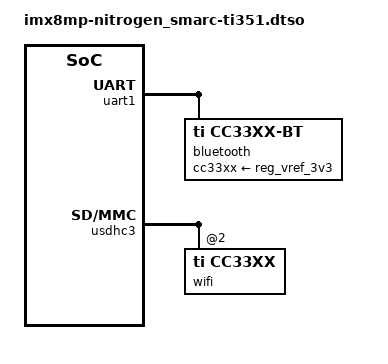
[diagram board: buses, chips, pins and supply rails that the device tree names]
// SPDX-License-Identifier: (GPL-2.0+ OR MIT)
/*
 * Copyright 2026 Ezurio LLC
 */

/dts-v1/;
/plugin/;

#include <dt-bindings/gpio/gpio.h>
#include "imx8mp-pinfunc.h"

&uart1 {
	bluetooth {
		compatible = "ti,cc33xx-bt";
		cc33xx-supply = <&reg_vref_3v3>;
		max-speed = <115200>;
	};
};

&usdhc3 { /* WiFi / Bluetooth */
	max-frequency = <50000000>;
	cap-power-off-card;

	wifi@2 {
		reg = <2>;
		compatible = "ti,cc33xx";
	};
};

&iomuxc {
	pinctrl_usdhc3: usdhc3grp {
		fsl,pins = <
			MX8MP_IOMUXC_NAND_WE_B__USDHC3_CLK	0x10
			MX8MP_IOMUXC_NAND_WP_B__USDHC3_CMD	0x150
			MX8MP_IOMUXC_NAND_DATA04__USDHC3_DATA0	0x150
			MX8MP_IOMUXC_NAND_DATA05__USDHC3_DATA1	0x150
			MX8MP_IOMUXC_NAND_DATA06__USDHC3_DATA2	0x150
			MX8MP_IOMUXC_NAND_DATA07__USDHC3_DATA3	0x150
			MX8MP_IOMUXC_NAND_DQS__GPIO3_IO14	0x180a /*PULL_DOWN */
			MX8MP_IOMUXC_SAI5_RXD0__GPIO3_IO21	0x1c0
		>;
	};
};

&wifi {
	status = "disabled";
};
